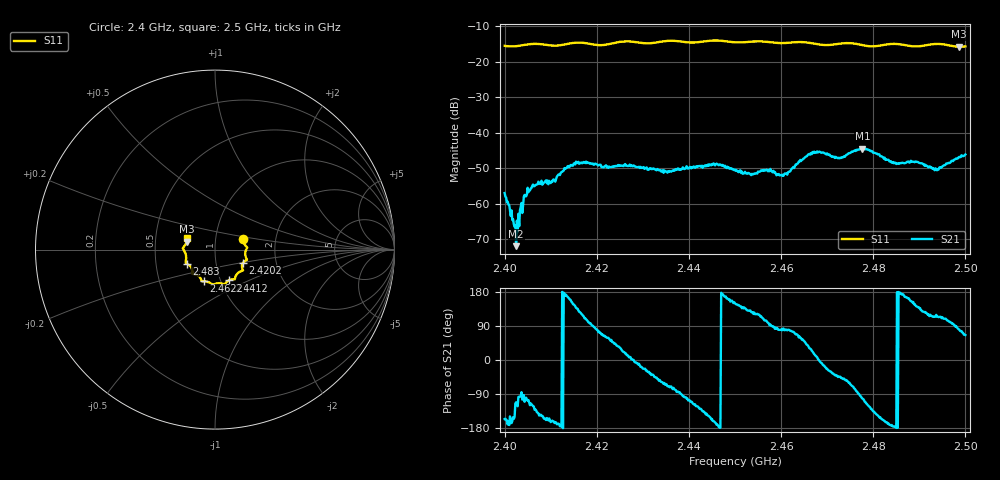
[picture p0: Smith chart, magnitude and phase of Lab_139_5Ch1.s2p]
# Hz S RI R 50
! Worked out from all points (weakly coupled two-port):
!   601 points, 2.4 GHz to 2.5 GHz, reference 50 ohm
!   highest |S21| = -44.54 dB at 2.4777 GHz (marker M1); lowest = -72.0 dB at 2.4025 GHz (marker M2)
!   lowest |S11| = -15.8 dB at 2.4987 GHz (marker M3), VSWR 1.39, Z = 36.3 + j3.29 ohm
!   |S11| at or under -10 dB: start of sweep to end of sweep
!   S12 and S22 are empty: the file has one direction only
!   S11 on the Smith chart (normalised r, x): 2.4 GHz: 1.36, +0.17; 2.4202 GHz: 1.35, -0.20; 2.4412 GHz: 1.09, -0.39; 2.4622 GHz: 0.83, -0.30; 2.483 GHz: 0.72, -0.12; 2.5 GHz: 0.73, +0.09
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2.4e9  0.1572 0.0602  -0.00129 -0.000574  0 0  0 0
2.402e9  0.1611 0.0372  -0.000467 -0.000214  0 0  0 0
2.4025e9  0.1634 0.0321  -9.27e-05 -0.000233  0 0  0 0
2.403e9  0.1657 0.0275  -9.16e-05 -0.000713  0 0  0 0
2.403833e9  0.1703 0.0213  -0.000186 -0.000713  0 0  0 0
2.4055e9  0.1776 0.0144  -0.000751 -0.00134  0 0  0 0
2.416667e9  0.1771 -0.0587  -0.00199 0.00325  0 0  0 0
2.420167e9  0.1569 -0.0725  0.000656 0.00345  0 0  0 0
2.433333e9  0.1135 -0.1519  0.00191 -0.00233  0 0  0 0
2.441167e9  0.0758 -0.1718  -0.00154 -0.00292  0 0  0 0
2.445833e9  0.0516 -0.1938  -0.0035 -0.000845  0 0  0 0
2.45e9  0.0268 -0.1872  -0.00261 0.00154  0 0  0 0
2.460167e9  -0.0446 -0.1785  0.000509 0.00243  0 0  0 0
2.462167e9  -0.0624 -0.1767  0.000695 0.00293  0 0  0 0
2.466667e9  -0.0774 -0.1665  0.00456 0.00206  0 0  0 0
2.472833e9  -0.1192 -0.1362  0.00319 -0.00307  0 0  0 0
2.477667e9  -0.1264 -0.1169  -0.00123 -0.0058  0 0  0 0
2.483e9  -0.1584 -0.0781  -0.00401 -0.0011  0 0  0 0
2.483333e9  -0.16 -0.0772  -0.00405 -0.000862  0 0  0 0
2.493667e9  -0.1792 0.00583  -0.00149 0.00268  0 0  0 0
2.498667e9  -0.1569 0.0442  0.000786 0.0045  0 0  0 0
2.5e9  -0.1536 0.062  0.00203 0.00449  0 0  0 0
